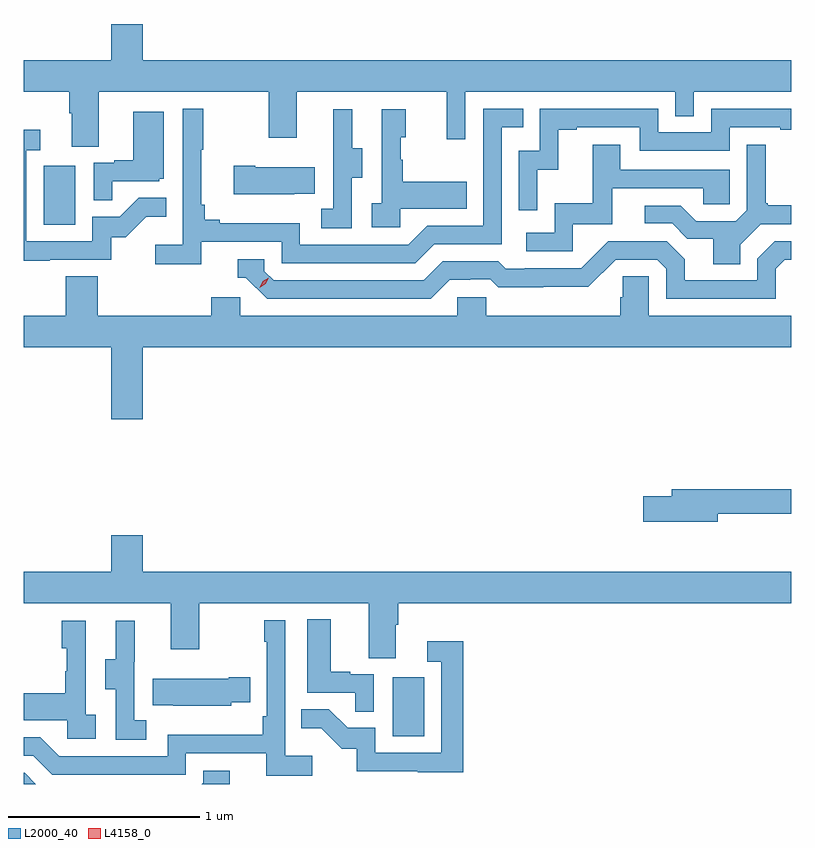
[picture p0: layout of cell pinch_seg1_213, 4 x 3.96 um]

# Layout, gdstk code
import gdstk
lib = gdstk.Library(unit=1e-6, precision=1e-09)
def R(c, l, rs):  # rectangles x0, y0, x1, y1
    for r in rs: c.add(gdstk.rectangle(r[:2], r[2:], *l))
def P(c, l, *ps):  # polygons
    for p in ps: c.add(gdstk.Polygon(p, *l))
L2000_40 = (2000, 40)
L4158_0 = (4158, 0)

pinch_seg1_213 = lib.new_cell('pinch_seg1_213')
R(pinch_seg1_213, L2000_40, [(969.668,576.348,969.832,576.655), (967.85,579.012,968.014,579.319)])
P(pinch_seg1_213, L2000_40, [(968.137,579.704),(969.022,579.704),(969.022,579.465),(969.169,579.465),(969.169,579.704),(969.95,579.704),(969.95,579.456),(970.047,579.456),(970.047,579.704),(971.142,579.704),(971.142,579.577),(971.238,579.577),(971.238,579.704),(971.746,579.704),(971.746,579.868),(968.368,579.868),(968.368,580.057),(968.204,580.057),(968.204,579.868),(967.746,579.868),(967.746,579.704),(967.985,579.704),(967.985,579.592),(967.997,579.592),(967.997,579.418),(968.137,579.418)],
  [(968.672,578.922),(969.09,578.922),(969.09,578.811),(969.787,578.811),(969.886,578.91),(970.236,578.91),(970.236,579.519),(970.349,579.519),(970.349,579.615),(970.14,579.615),(970.14,579.006),(969.849,579.006),(969.75,578.907),(969.186,578.907),(969.186,579.019),(968.767,579.019),(968.767,579.038),(968.69,579.038),(968.69,579.115),(968.671,579.115),(968.671,579.403),(968.683,579.403),(968.683,579.616),(968.574,579.616),(968.574,578.908),(968.433,578.908),(968.433,578.806),(968.672,578.806)],
  [(970.422,579.299),(970.532,579.299),(970.532,579.507),(970.627,579.507),(970.627,579.519),(970.956,579.519),(970.956,579.396),(971.424,579.396),(971.424,579.519),(971.687,579.519),(971.687,579.507),(971.746,579.507),(971.746,579.615),(971.328,579.615),(971.328,579.492),(971.052,579.492),(971.052,579.615),(970.434,579.615),(970.434,579.396),(970.326,579.396),(970.326,579.087),(970.422,579.087)],
  [(969.456,579.256),(969.511,579.256),(969.511,579.411),(969.457,579.411),(969.457,579.613),(969.359,579.613),(969.359,579.399),(969.36,579.399),(969.36,579.095),(969.297,579.095),(969.297,578.992),(969.456,578.992)],
  [(969.708,579.095),(970.055,579.095),(970.055,579.235),(969.721,579.235),(969.721,579.35),(969.711,579.35),(969.711,579.468),(969.736,579.468),(969.736,579.613),(969.612,579.613),(969.612,579.122),(969.561,579.122),(969.561,578.997),(969.708,578.997)],
  [(968.207,579.237),(968.454,579.237),(968.454,579.252),(968.476,579.252),(968.476,579.601),(968.318,579.601),(968.318,579.346),(968.219,579.346),(968.219,579.333),(968.112,579.333),(968.112,579.139),(968.207,579.139)],
  [(967.883,578.829),(968.202,578.829),(968.202,578.946),(968.278,578.946),(968.385,579.053),(968.489,579.053),(968.489,579.152),(968.345,579.152),(968.247,579.054),(968.103,579.054),(968.103,578.925),(967.761,578.925),(967.761,579.399),(967.834,579.399),(967.834,579.505),(967.746,579.505),(967.746,578.824),(967.883,578.824)],
  [(971.479,578.908),(971.586,579.015),(971.746,579.015),(971.746,579.112),(971.623,579.112),(971.623,579.124),(971.611,579.124),(971.611,579.427),(971.514,579.427),(971.514,579.087),(971.457,579.03),(971.251,579.03),(971.17,579.111),(970.983,579.111),(970.983,579.018),(971.124,579.018),(971.204,578.938),(971.339,578.938),(971.339,578.806),(971.479,578.806)],
  [(970.608,579.015),(970.813,579.015),(970.813,579.201),(971.287,579.201),(971.287,579.117),(971.424,579.117),(971.424,579.297),(970.855,579.297),(970.855,579.427),(970.711,579.427),(970.711,579.124),(970.512,579.124),(970.512,578.97),(970.365,578.97),(970.365,578.874),(970.608,578.874)],
  [(969.155,579.173),(969.263,579.173),(969.263,579.31),(968.953,579.31),(968.953,579.318),(968.841,579.318),(968.841,579.17),(969.155,579.17)],
  [(969.967,578.724),(970.074,578.724),(970.074,578.727),(970.177,578.727),(970.219,578.685),(970.452,578.685),(970.452,578.687),(970.688,578.687),(970.83,578.829),(971.046,578.829),(971.094,578.781),(971.094,578.625),(971.664,578.625),(971.664,578.781),(971.712,578.829),(971.746,578.829),(971.746,578.925),(971.658,578.925),(971.568,578.835),(971.568,578.721),(971.191,578.721),(971.191,578.831),(971.097,578.925),(970.791,578.925),(970.65,578.784),(970.357,578.784),(970.357,578.781),(970.258,578.781),(970.219,578.82),(969.93,578.82),(969.831,578.721),(969.048,578.721),(969,578.769),(969,578.832),(968.861,578.832),(968.861,578.736),(968.904,578.736),(969.015,578.625),(969.868,578.625)],
  [(968.368,578.372),(971.746,578.372),(971.746,578.536),(971.004,578.536),(971.004,578.744),(970.867,578.744),(970.867,578.634),(970.853,578.634),(970.853,578.536),(970.155,578.536),(970.155,578.634),(970.005,578.634),(970.005,578.536),(968.874,578.536),(968.874,578.634),(968.723,578.634),(968.723,578.536),(968.132,578.536),(968.132,578.744),(967.967,578.744),(967.967,578.536),(967.746,578.536),(967.746,578.372),(968.204,578.372),(968.204,577.998),(968.368,577.998)],
  [(971.362,577.506),(971.746,577.506),(971.746,577.634),(971.123,577.634),(971.123,577.598),(970.974,577.598),(970.974,577.463),(971.362,577.463)],
  [(969.685,576.928),(969.698,576.928),(969.698,577.04),(971.746,577.04),(971.746,577.204),(968.368,577.204),(968.368,577.393),(968.204,577.393),(968.204,577.204),(967.746,577.204),(967.746,577.04),(968.513,577.04),(968.513,576.801),(968.661,576.801),(968.661,577.04),(969.545,577.04),(969.545,576.754),(969.685,576.754)],
  [(969.57,576.669),(969.449,576.669),(969.449,576.682),(969.346,576.682),(969.346,576.955),(969.224,576.955),(969.224,576.573),(969.475,576.573),(969.475,576.475),(969.57,576.475)],
  [(969.25,576.244),(969.108,576.244),(969.108,576.952),(969,576.952),(969,576.839),(969.012,576.839),(969.012,576.451),(968.992,576.451),(968.992,576.355),(968.496,576.355),(968.496,576.243),(967.932,576.243),(967.833,576.342),(967.746,576.342),(967.746,576.246),(967.796,576.246),(967.895,576.147),(968.592,576.147),(968.592,576.258),(969.011,576.258),(969.011,576.142),(969.25,576.142)],
  [(968.386,576.431),(968.322,576.431),(968.322,576.735),(968.324,576.735),(968.324,576.949),(968.225,576.949),(968.225,576.747),(968.171,576.747),(968.171,576.592),(968.226,576.592),(968.226,576.328),(968.386,576.328)],
  [(968.122,576.458),(968.07,576.458),(968.07,576.949),(967.946,576.949),(967.946,576.804),(967.972,576.804),(967.972,576.686),(967.962,576.686),(967.962,576.571),(967.746,576.571),(967.746,576.431),(967.974,576.431),(967.974,576.333),(968.122,576.333)],
  [(970.037,576.841),(969.849,576.841),(969.849,576.735),(969.921,576.735),(969.921,576.261),(969.579,576.261),(969.579,576.39),(969.434,576.39),(969.336,576.488),(969.193,576.488),(969.193,576.389),(969.297,576.389),(969.404,576.282),(969.481,576.282),(969.481,576.165),(969.799,576.165),(969.799,576.16),(970.037,576.16)],
  [(968.829,576.524),(968.927,576.524),(968.927,576.654),(968.816,576.654),(968.816,576.646),(968.419,576.646),(968.419,576.509),(968.527,576.509),(968.527,576.506),(968.829,576.506)],
  [(968.821,576.168),(968.682,576.168),(968.682,576.105),(968.675,576.098),(968.821,576.098)],
  [(967.752,576.156),(967.746,576.156),(967.746,576.098),(967.81,576.098)])
P(pinch_seg1_213, L4158_0, [(968.977,578.683),(968.977,578.683),(968.992,578.716),(969.023,578.736),(969.023,578.736),(969.023,578.735),(969.008,578.703),(968.977,578.683)])

lib.write_gds('pinch_seg1_213.gds')
